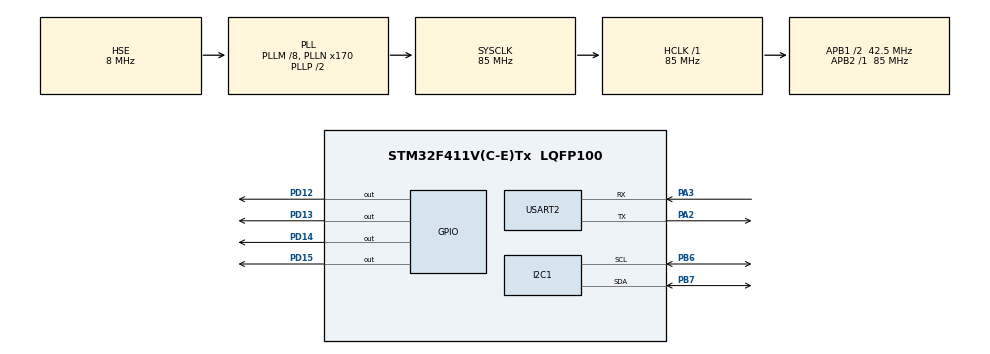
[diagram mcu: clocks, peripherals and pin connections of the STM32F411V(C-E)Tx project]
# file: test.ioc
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Mcu.Family=STM32F4
Mcu.Name=STM32F411V(C-E)Tx
Mcu.Package=LQFP100
NVIC.PriorityGroup=NVIC_PRIORITYGROUP_4
PA13.Mode=Serial_Wire
PA13.Signal=SYS_JTMS-SWDIO
PA14.Mode=Serial_Wire
PA14.Signal=SYS_JTCK-SWCLK
PA2.Mode=Asynchronous
PA2.Signal=USART2_TX
PA3.Mode=Asynchronous
PA3.Signal=USART2_RX
PB6.Mode=I2C
PB6.Signal=I2C1_SCL
PB7.Mode=I2C
PB7.Signal=I2C1_SDA
PD12.Signal=GPIO_Output
PD13.Signal=GPIO_Output
PD14.Signal=GPIO_Output
PD15.Signal=GPIO_Output
PH0\ -\ OSC_IN.Mode=HSE-External-Oscillator
PH0\ -\ OSC_IN.Signal=RCC_OSC_IN
PH1\ -\ OSC_OUT.Mode=HSE-External-Oscillator
PH1\ -\ OSC_OUT.Signal=RCC_OSC_OUT
ProjectManager.HeapSize=0x200
ProjectManager.StackSize=0x400
ProjectManager.TargetToolchain=STM32CubeIDE
RCC.48MHZClocksFreq_Value=42500000
RCC.AHBFreq_Value=85000000
RCC.APB1CLKDivider=RCC_HCLK_DIV2
RCC.APB1Freq_Value=42500000
RCC.APB1TimFreq_Value=85000000
RCC.APB2Freq_Value=85000000
RCC.APB2TimFreq_Value=85000000
RCC.CortexFreq_Value=85000000
RCC.HCLKFreq_Value=85000000
RCC.HSE_VALUE=8000000
RCC.HSI_VALUE=16000000
RCC.LSE_VALUE=32768
RCC.PLLM=8
RCC.PLLN=170
RCC.PLLSourceVirtual=RCC_PLLSOURCE_HSE
RCC.SYSCLKFreq_VALUE=85000000
RCC.SYSCLKSource=RCC_SYSCLKSOURCE_PLLCLK
RCC.VCOOutputFreq_Value=170000000
USART2.VirtualMode=VM_ASYNC
board=custom

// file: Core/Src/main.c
/* USER CODE BEGIN Header */
/**
  ******************************************************************************
  * @file           : main.c
  * @brief          : Main program body
  ******************************************************************************
  * @attention
  *
  * Copyright (c) 2023 STMicroelectronics.
  * All rights reserved.
  *
  * This software is licensed under terms that can be found in the LICENSE file
  * in the root directory of this software component.
  * If no LICENSE file comes with this software, it is provided AS-IS.
  *
  ******************************************************************************
  */
/* USER CODE END Header */
#include "main.h"
#include "math.h"
#include "string.h"
#include <stdbool.h>

I2C_HandleTypeDef hi2c1;

UART_HandleTypeDef huart2;

void SystemClock_Config(void);
static void MX_GPIO_Init(void);
static void MX_I2C1_Init(void);
static void MX_USART2_UART_Init(void);
/* USER CODE BEGIN PFP */

#define MPU6050_ADDR 0XD0

#define SMPLRT_DIV_REG 0X19
#define	GYRO_CONFIG_REG 0X1B
#define ACCEL_CONFIG_REG 0X1C
#define	ACCEL_XOUT_H_REG 0X3B
#define	TEMP_OUT_H_REG 0X41
#define	GYRO_XOUT_H_REG 0X43
#define PWR_MGMT_1_REG 0X6B
#define WHO_AM_I_REG 0X75

#define BMP180_ADDRESS 0xEE
#define atmPress 101325 //Pa
#define BMP180_I2C &hi2c1

// Low-pass filter variables
float alpha = 0.1;
float prev_x = 0, prev_y = 0, prev_z = 0;
float filt_x = 0, filt_y = 0, filt_z = 0;
const float PI=3.14159;
// High-pass filter variables
const float cutoff_freq = 5;  // Cutoff frequency in Hz
float RC = 1.0/ (2.0 * PI * cutoff_freq);
float dt = 0.01;
float prev_xh = 0, prev_yh = 0, prev_zh = 0;
float filt_xh = 0, filt_yh = 0, filt_zh = 0;

// Motion detection variables
float threshold = 0.5;  // Motion detection threshold
float prev_magn = 0;
float curr_magn = 0;
bool motion_detected = false;

uint16_t Accel_X_RAW, Accel_Y_RAW, Accel_Z_RAW,Gyro_X_RAW,Gyro_Y_RAW,Gyro_Z_RAW;
float Ax=0,Ay=0,Az=0,Gx,Gy,Gz;
short AC1=0,AC2=0,AC3=0,B1=0,B2=0,MB=0,MC=0,MD=0;
unsigned short AC4=0,AC5=0,AC6=0;

//................../
long UT=0;
short oss=0;
long UP=0;
long X1=0,X2=0,X3=0,B3=0,B5=0;
unsigned long B4=0,B7=0;
long B6=0;

float temperature, pressure, altitude;

void MPU6050_Init(void){
	uint8_t check, data;
	HAL_I2C_Mem_Read(&hi2c1, MPU6050_ADDR, WHO_AM_I_REG, 1, &check, 1, 1000);
	if (check==104){
		data=0;
		HAL_I2C_Mem_Write(&hi2c1, MPU6050_ADDR, PWR_MGMT_1_REG, 1, &data, 1, 1000);
		data = 0x07;
		HAL_I2C_Mem_Write(&hi2c1, MPU6050_ADDR, SMPLRT_DIV_REG, 1, &data, 1, 1000);
		data=0;
		HAL_I2C_Mem_Write(&hi2c1, MPU6050_ADDR, ACCEL_CONFIG_REG, 1, &data, 1, 1000);
		data=0;
		HAL_I2C_Mem_Write(&hi2c1, MPU6050_ADDR, GYRO_CONFIG_REG, 1, &data, 1, 1000);

	}
}

void MPU6050_READ_ACC(void){
	uint8_t Rec_Data[6];

	HAL_I2C_Mem_Read (&hi2c1, MPU6050_ADDR, ACCEL_XOUT_H_REG, 1, Rec_Data, 6, 1000);

	Accel_X_RAW = (int16_t)(Rec_Data[0] << 8 | Rec_Data [1]);
	Accel_Y_RAW = (int16_t)(Rec_Data[2] << 8 | Rec_Data [3]);
	Accel_Z_RAW = (int16_t)(Rec_Data[4] << 8 | Rec_Data [5]);

	Ax = Accel_X_RAW/16384.0;
	Ay = Accel_Y_RAW/16384.0;
	Az = Accel_Z_RAW/16384.0;
}

void MPU6050_READ_GR(void){
	uint8_t Rec_Data[6];

	HAL_I2C_Mem_Read (&hi2c1, MPU6050_ADDR,GYRO_XOUT_H_REG, 1, Rec_Data, 6, 1000);

	Gyro_X_RAW = (int16_t)(Rec_Data[0] << 8 | Rec_Data [1]);
	Gyro_Y_RAW = (int16_t)(Rec_Data[2] << 8 | Rec_Data [3]);
	Gyro_Z_RAW = (int16_t)(Rec_Data[4] << 8 | Rec_Data [5]);

	Gx = Gyro_X_RAW/131.0;
	Gy = Gyro_Y_RAW/131.0;
	Gz = Gyro_Z_RAW/131.0;

}

void read_calliberation_data (void)
{
	uint8_t Callib_Data[22] = {0};
	uint16_t Callib_Start = 0xAA;
	HAL_I2C_Mem_Read(BMP180_I2C, BMP180_ADDRESS, Callib_Start, 1, Callib_Data,22, HAL_MAX_DELAY);

	AC1 = ((Callib_Data[0] << 8) | Callib_Data[1]);
	AC2 = ((Callib_Data[2] << 8) | Callib_Data[3]);
	AC3 = ((Callib_Data[4] << 8) | Callib_Data[5]);
	AC4 = ((Callib_Data[6] << 8) | Callib_Data[7]);
	AC5 = ((Callib_Data[8] << 8) | Callib_Data[9]);
	AC6 = ((Callib_Data[10] << 8) | Callib_Data[11]);
	B1 = ((Callib_Data[12] << 8) | Callib_Data[13]);
	B2 = ((Callib_Data[14] << 8) | Callib_Data[15]);
	MB = ((Callib_Data[16] << 8) | Callib_Data[17]);
	MC = ((Callib_Data[18] << 8) | Callib_Data[19]);
	MD = ((Callib_Data[20] << 8) | Callib_Data[21]);
}

// Get uncompensated Temp
uint16_t Get_UTemp (void)
{
	uint8_t datatowrite = 0x2E;
	uint8_t Temp_RAW[2] = {0};
	HAL_I2C_Mem_Write(BMP180_I2C, BMP180_ADDRESS, 0xF4, 1, &datatowrite, 1, 1000);
	HAL_Delay (5);  // wait 4.5 ms
	HAL_I2C_Mem_Read(BMP180_I2C, BMP180_ADDRESS, 0xF6, 1, Temp_RAW, 2, 1000);
	return ((Temp_RAW[0]<<8) + Temp_RAW[1]);
}

float BMP180_GetTemp (void)
{
	long Temp=0;
	UT = Get_UTemp();
	X1 = ((UT-AC6) * (AC5/(pow(2,15))));
	X2 = ((MC*(pow(2,11))) / (X1+MD));
	B5 = X1+X2;
	Temp = (B5+8)/(pow(2,4));
	return Temp/10.0;
}

// Get uncompensated Pressure
uint32_t Get_UPress (int oss)   // oversampling setting 0,1,2,3
{
	uint8_t datatowrite = 0x34+(oss<<6);
	uint8_t Press_RAW[3] = {0};
	HAL_I2C_Mem_Write(BMP180_I2C, BMP180_ADDRESS, 0xF4, 1, &datatowrite, 1, 1000);
	switch (oss)
	{
		case (0):
			HAL_Delay (5);
			break;
		case (1):
			HAL_Delay (8);
			break;
		case (2):
			HAL_Delay (14);
			break;
		case (3):
			HAL_Delay (26);
			break;
	}
	HAL_I2C_Mem_Read(BMP180_I2C, BMP180_ADDRESS, 0xF6, 1, Press_RAW, 3, 1000);
	return (((Press_RAW[0]<<16)+(Press_RAW[1]<<8)+Press_RAW[2]) >> (8-oss));
}

float BMP180_GetPress (int oss)
{
	long Press = 0;
	UP = Get_UPress(oss);
	X1 = ((UT-AC6) * (AC5/(pow(2,15))));
	X2 = ((MC*(pow(2,11))) / (X1+MD));
	B5 = X1+X2;
	B6 = B5-4000;
	X1 = (B2 * (B6*B6/(pow(2,12))))/(pow(2,11));
	X2 = AC2*B6/(pow(2,11));
	X3 = X1+X2;
	B3 = (((AC1*4+X3)<<oss)+2)/4;
	X1 = AC3*B6/pow(2,13);
	X2 = (B1 * (B6*B6/(pow(2,12))))/(pow(2,16));
	X3 = ((X1+X2)+2)/pow(2,2);
	B4 = AC4*(unsigned long)(X3+32768)/(pow(2,15));
	B7 = ((unsigned long)UP-B3)*(50000>>oss);
	if (B7<0x80000000) Press = (B7*2)/B4;
	else Press = (B7/B4)*2;
	X1 = (Press/(pow(2,8)))*(Press/(pow(2,8)));
	X1 = (X1*3038)/(pow(2,16));
	X2 = (-7357*Press)/(pow(2,16));
	Press = Press + (X1+X2+3791)/(pow(2,4));

	return Press;
}

float BMP180_GetAlt (int oss)
{
	float Press;
	Press = BMP180_GetPress (oss);
	return 44330*(1-(pow(((float)Press/(float)atmPress), 0.19029495718)));
}

void bolocmpu(void){

	  // Apply low-pass filter
	  filt_x = alpha * Ax + (1 - alpha) * prev_x;
	  filt_y = alpha * Ay + (1 - alpha) * prev_y;
	  filt_z = alpha * Az + (1 - alpha) * prev_z;
	  prev_x = filt_x;
	  prev_y = filt_y;
	  prev_z = filt_z;

	  // Apply high-pass filter
	  float alpha_h = RC / (RC + dt);
	  filt_xh = alpha_h * (filt_xh + Ax - prev_xh);
	  filt_yh = alpha_h * (filt_yh + Ay - prev_yh);
	  filt_zh = alpha_h * (filt_zh + Az - prev_zh);
	  prev_xh = Ax;
	  prev_yh = Ay;
	  prev_zh = Az;

	  // Calculate magnitude
	  curr_magn = sqrt(filt_x * filt_x + filt_y * filt_y + filt_z * filt_z);

	  // Check for motion
	  if (abs(curr_magn - prev_magn) > threshold) {
	    motion_detected = true;
	  } else {
	    motion_detected = false;
	  }
	  prev_magn = curr_magn;

}

/* USER CODE END PFP */

int main(void)
{
  /* USER CODE BEGIN 1 */
	char chuoi[80];
  /* USER CODE END 1 */

  /* MCU Configuration--------------------------------------------------------*/

  /* Reset of all peripherals, Initializes the Flash interface and the Systick. */
  HAL_Init();

  /* Configure the system clock */
  SystemClock_Config();

  /* Initialize all configured peripherals */
  MX_GPIO_Init();
  MX_I2C1_Init();
  MX_USART2_UART_Init();
  MPU6050_Init();
  /* USER CODE BEGIN 2 */
// uint8_t data[] = "AAA\n";
  /* USER CODE END 2 */

  /* Infinite loop */
  while (1)
  {

    /* USER CODE BEGIN 3 */
	  	MPU6050_READ_ACC();
	  	MPU6050_READ_GR();

	//  	  read_calliberation_data();
	// 	  HAL_Delay(1000);
	//  	temperature = BMP180_GetTemp();
	//  	HAL_Delay(1000);
	 // 	pressure = BMP180_GetPress(0);
	// 	HAL_Delay(1000);
	//  	altitude =BMP180_GetAlt(0);
	// 	HAL_Delay(1000);
	 	HAL_Delay(100);
	 	sprintf(chuoi,"X = %.2f  ",Ax);
	 	HAL_Delay(100);
		HAL_UART_Transmit(&huart2,(uint8_t*)chuoi,strlen(chuoi),HAL_MAX_DELAY);
		HAL_Delay(100);
		sprintf(chuoi,"Y = %.2f  ",Ay);
		HAL_Delay(100);
		HAL_UART_Transmit(&huart2,(uint8_t*)chuoi,strlen(chuoi), HAL_MAX_DELAY);
		HAL_Delay(100);
		sprintf(chuoi,"Z = %.2f   ..",Az);
		HAL_Delay(100);
		HAL_UART_Transmit(&huart2,(uint8_t*)chuoi,strlen(chuoi), HAL_MAX_DELAY);
		HAL_Delay(100);
		sprintf(chuoi," %f",PI);
		HAL_Delay(100);
				HAL_UART_Transmit(&huart2,(uint8_t*)chuoi,strlen(chuoi), HAL_MAX_DELAY);
				HAL_Delay(100);
		bolocmpu();

		char chuoiqb[]="Filtered:\n";
		HAL_Delay(100);
		HAL_UART_Transmit(&huart2,(uint8_t*)chuoiqb,strlen(chuoiqb), HAL_MAX_DELAY);
	 	sprintf(chuoi,"%.2f   ",filt_x);
	 	HAL_Delay(100);
		HAL_UART_Transmit(&huart2,(uint8_t*)chuoi,strlen(chuoi), HAL_MAX_DELAY);
		HAL_Delay(100);
		sprintf(chuoi," %.2f   ",filt_y);
		HAL_Delay(100);
		HAL_UART_Transmit(&huart2,(uint8_t*)chuoi,strlen(chuoi), HAL_MAX_DELAY);
		HAL_Delay(100);
		sprintf(chuoi," %.2f   ",filt_z);
		HAL_Delay(100);
		HAL_UART_Transmit(&huart2,(uint8_t*)chuoi,strlen(chuoi),HAL_MAX_DELAY);
		HAL_Delay(100);

  }
  /* USER CODE END 3 */
}

void SystemClock_Config(void)
{
  RCC_OscInitTypeDef RCC_OscInitStruct = {0};
  RCC_ClkInitTypeDef RCC_ClkInitStruct = {0};

  /** Configure the main internal regulator output voltage
  */
  __HAL_RCC_PWR_CLK_ENABLE();
  __HAL_PWR_VOLTAGESCALING_CONFIG(PWR_REGULATOR_VOLTAGE_SCALE1);

  /** Initializes the RCC Oscillators according to the specified parameters
  * in the RCC_OscInitTypeDef structure.
  */
  RCC_OscInitStruct.OscillatorType = RCC_OSCILLATORTYPE_HSE;
  RCC_OscInitStruct.HSEState = RCC_HSE_ON;
  RCC_OscInitStruct.PLL.PLLState = RCC_PLL_ON;
  RCC_OscInitStruct.PLL.PLLSource = RCC_PLLSOURCE_HSE;
  RCC_OscInitStruct.PLL.PLLM = 8;
  RCC_OscInitStruct.PLL.PLLN = 170;
  RCC_OscInitStruct.PLL.PLLP = RCC_PLLP_DIV2;
  RCC_OscInitStruct.PLL.PLLQ = 4;
  if (HAL_RCC_OscConfig(&RCC_OscInitStruct) != HAL_OK)
  {
    Error_Handler();
  }

  /** Initializes the CPU, AHB and APB buses clocks
  */
  RCC_ClkInitStruct.ClockType = RCC_CLOCKTYPE_HCLK|RCC_CLOCKTYPE_SYSCLK
                              |RCC_CLOCKTYPE_PCLK1|RCC_CLOCKTYPE_PCLK2;
  RCC_ClkInitStruct.SYSCLKSource = RCC_SYSCLKSOURCE_PLLCLK;
  RCC_ClkInitStruct.AHBCLKDivider = RCC_SYSCLK_DIV1;
  RCC_ClkInitStruct.APB1CLKDivider = RCC_HCLK_DIV2;
  RCC_ClkInitStruct.APB2CLKDivider = RCC_HCLK_DIV1;

  if (HAL_RCC_ClockConfig(&RCC_ClkInitStruct, FLASH_LATENCY_2) != HAL_OK)
  {
    Error_Handler();
  }
}

static void MX_I2C1_Init(void)
{

  hi2c1.Instance = I2C1;
  hi2c1.Init.ClockSpeed = 100000;
  hi2c1.Init.DutyCycle = I2C_DUTYCYCLE_2;
  hi2c1.Init.OwnAddress1 = 0;
  hi2c1.Init.AddressingMode = I2C_ADDRESSINGMODE_7BIT;
  hi2c1.Init.DualAddressMode = I2C_DUALADDRESS_DISABLE;
  hi2c1.Init.OwnAddress2 = 0;
  hi2c1.Init.GeneralCallMode = I2C_GENERALCALL_DISABLE;
  hi2c1.Init.NoStretchMode = I2C_NOSTRETCH_DISABLE;
  if (HAL_I2C_Init(&hi2c1) != HAL_OK)
  {
    Error_Handler();
  }

}

static void MX_USART2_UART_Init(void)
{

  huart2.Instance = USART2;
  huart2.Init.BaudRate = 115200;
  huart2.Init.WordLength = UART_WORDLENGTH_8B;
  huart2.Init.StopBits = UART_STOPBITS_1;
  huart2.Init.Parity = UART_PARITY_NONE;
  huart2.Init.Mode = UART_MODE_TX_RX;
  huart2.Init.HwFlowCtl = UART_HWCONTROL_NONE;
  huart2.Init.OverSampling = UART_OVERSAMPLING_16;
  if (HAL_UART_Init(&huart2) != HAL_OK)
  {
    Error_Handler();
  }

}

static void MX_GPIO_Init(void)
{
  GPIO_InitTypeDef GPIO_InitStruct = {0};

  /* GPIO Ports Clock Enable */
  __HAL_RCC_GPIOH_CLK_ENABLE();
  __HAL_RCC_GPIOA_CLK_ENABLE();
  __HAL_RCC_GPIOD_CLK_ENABLE();
  __HAL_RCC_GPIOB_CLK_ENABLE();

  /*Configure GPIO pin Output Level */
  HAL_GPIO_WritePin(GPIOD, GPIO_PIN_12|GPIO_PIN_13|GPIO_PIN_14|GPIO_PIN_15, GPIO_PIN_RESET);

  /*Configure GPIO pins : PD12 PD13 PD14 PD15 */
  GPIO_InitStruct.Pin = GPIO_PIN_12|GPIO_PIN_13|GPIO_PIN_14|GPIO_PIN_15;
  GPIO_InitStruct.Mode = GPIO_MODE_OUTPUT_PP;
  GPIO_InitStruct.Pull = GPIO_NOPULL;
  GPIO_InitStruct.Speed = GPIO_SPEED_FREQ_LOW;
  HAL_GPIO_Init(GPIOD, &GPIO_InitStruct);

}

void Error_Handler(void)
{
  __disable_irq();
  while (1)
  {
  }
}
